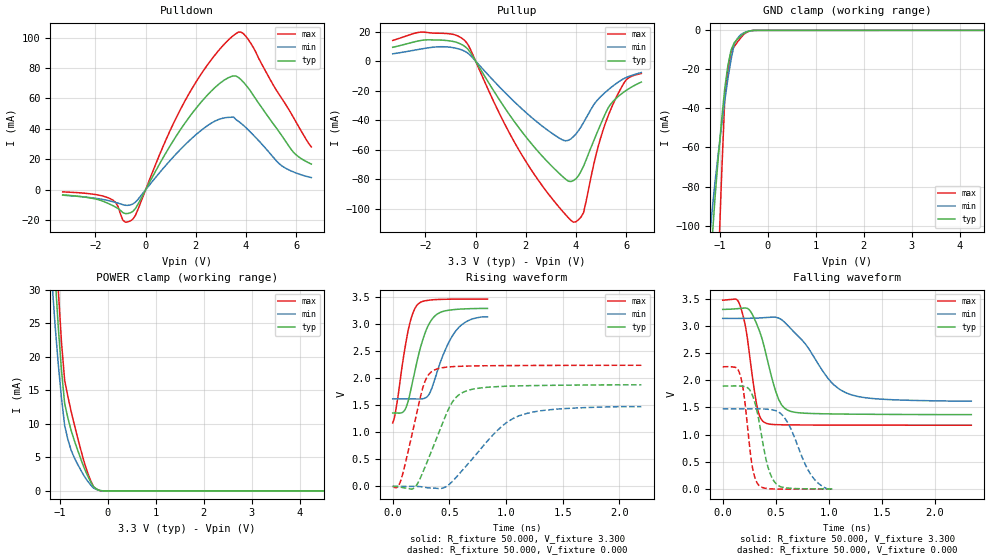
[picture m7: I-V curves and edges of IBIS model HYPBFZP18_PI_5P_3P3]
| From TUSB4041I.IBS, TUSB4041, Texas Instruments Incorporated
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|   Model Cell HYPBFZP18_PI_5P_3P3
|BC3340DSHYPBFZP18_PI_5P_3P3
[Model]   HYPBFZP18_PI_5P_3P3
Model_type   I/O
Polarity   Non-Inverting
Enable   Active-Low
Vinl =  0.8V
Vinh =  2V
Cref =  7pF
Rref =  100.00M
Vref =  0V
Vmeas =  1.65
C_comp   1.726631p   1.655247p   2.290856p
[Model Spec]
Vinl   0.8V   0.8V   0.8V
Vinh   2V   2V   2V
[Temperature Range]   25   125   -40
[Voltage Range]   3.3   3.135   3.465
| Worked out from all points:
|   slope of the pulldown table from 0 to 0.495 V, typ, clamps not added: 32.6 ohm
|   slope of the pullup table from 0 to 0.495 V, typ, clamps not added: 35.4 ohm
|   GND clamp passes 1 mA (typ) near -0.45 V on its own axis
|   POWER clamp passes 1 mA (typ) near -0.33 V on its own axis
|   rising waveform, R_fixture 50.000, V_fixture 3.300: 20-80 % time 142ps typ, 180ps min, 105ps max; typ from 1.36 V to 3.29 V
|   rising waveform, R_fixture 50.000, V_fixture 0.000: 20-80 % time 222ps typ, 391ps min, 148ps max; typ from 0 V to 1.88 V
|   falling waveform, R_fixture 50.000, V_fixture 3.300: 20-80 % time 163ps typ, 344ps min, 101ps max; typ from 3.3 V to 1.37 V
|   falling waveform, R_fixture 50.000, V_fixture 0.000: 20-80 % time 117ps typ, 198ps min, 80.1ps max; typ from 1.89 V to 0.004 V
[POWER_clamp]
|   voltage   I(typ)   I(min)   I(max)
-3.3V     369.6mA    284.7mA    471.9mA
-1.167V   41.03mA    31.42mA    51.21mA
-1.1V     32.16mA    24.72mA    39.91mA
-1.033V   24.41mA    18.88mA    30.02mA
-966.7mV  18.03mA    13.88mA    22.2mA
-900mV    13.01mA    9.725mA    16.44mA
-766.7mV  9.049mA    6.088mA    11.9mA
-500mV    3.542mA    2.299mA    4.462mA
-300mV    640.4uA    437.3uA    617.9uA
-233.3mV  273.6uA    199uA      245.5uA
-33.33mV  5.413uA    4.857uA    7.533uA
6.6V      -215.7nA   -1.274uA   -31.55nA
[Pulldown]
|   voltage   I(typ)   I(min)   I(max)
-3.3V     -3.365mA   -3.488mA   -1.337mA
-1.5V     -8.823mA   -6.978mA   -5.127mA
-1.2V     -11.25mA   -8.255mA   -8.14mA
-900mV    -14.96mA   -9.762mA   -19.97mA
-500mV    -14.05mA   -9.217mA   -19.12mA
1.7V      46.86mA    31.63mA    62.28mA
2.9V      69.16mA    46.14mA    91.29mA
3.7V      73.78mA    44.98mA    103.6mA
4.2V      64.34mA    37.49mA    95.95mA
5.4V      36.15mA    16.09mA    60.58mA
5.9V      24.48mA    11.69mA    47.2mA
6.6V      16.92mA    8.046mA    28.22mA
[Pullup]
|   voltage   I(typ)   I(min)   I(max)
-3.3V     9.309mA    4.903mA    13.95mA
-2.1V     14.15mA    8.36mA     19.61mA
-900mV    13.29mA    9.083mA    18.12mA
-400mV    9.543mA    6.366mA    13.33mA
1.8V      -46.88mA   -31.69mA   -62.38mA
3.4V      -77.2mA    -52.88mA   -100.5mA
3.9V      -80.91mA   -51.11mA   -109.2mA
4.3V      -71.16mA   -41.65mA   -102.6mA
4.9V      -46.04mA   -25.54mA   -56.79mA
5.5V      -26.88mA   -16.5mA    -28.23mA
6V        -19.88mA   -11.14mA   -12.69mA
6.6V      -14.22mA   -7.771mA   -8.395mA
[GND_clamp]
|   voltage   I(typ)   I(min)   I(max)
-3.3V     -996.3mA   -831.9mA   -2.048A
-1.233V   -134.2mA   -111.3mA   -283.3mA
-1.167V   -109.2mA   -93.69mA   -227.4mA
-1.1V     -85.3mA    -77.4mA    -172.3mA
-1.033V   -65.22mA   -63.13mA   -121.7mA
-966.7mV  -46.84mA   -49.44mA   -76.28mA
-900mV    -30.14mA   -36.34mA   -36.16mA
-833.3mV  -18.07mA   -24.79mA   -20.33mA
-766.7mV  -10.12mA   -14.98mA   -11.02mA
-700mV    -6.271mA   -6.911mA   -8.235mA
-500mV    -1.565mA   -1.211mA   -1.98mA
6.6V      3.807uA    16.07uA    6.911uA
[Ramp]
| variable   typ   min   max
dV/dt_f   1.180353/0.1661081n  0.9156961/0.3655182n   1.391752/0.1021891n
dV/dt_r   1.167026/0.2296821n  0.9061206/0.4217149n   1.382914/0.1495683n
R_load = 50
[Rising Waveform]
R_fixture = 50.000
V_fixture = 3.300
V_fixture_min = 3.135
V_fixture_max = 3.465
|  time   V(typ)   V(min)   V(max)
0s        1.358V     1.618V     1.175V
36ps      1.356V     1.618V     1.52V
112.5ps   1.435V     1.618V     2.612V
157.5ps   1.761V     1.618V     3.07V
210ps     2.267V     1.616V     3.338V
316.5ps   2.988V     1.688V     3.443V
379.5ps   3.166V     2.033V     3.455V
481.5ps   3.254V     2.605V     3.462V
580.5ps   3.277V     2.934V     3.464V
837ps     3.291V     3.135V     3.465V
[Rising Waveform]
R_fixture = 50.000
V_fixture = 0.000
V_fixture_min = 0.000
V_fixture_max = 0.000
|  time   V(typ)   V(min)   V(max)
0s        224.6uV    24.94uV    704.8nV
64.5ps    -10.71mV   36.41uV    65.94mV
202.5ps   -1.821mV   -727.1uV   1.263V
280.5ps   334mV      -16.2mV    1.919V
367.5ps   782.4mV    -32.26mV   2.151V
528ps     1.564V     93.88mV    2.214V
655.5ps   1.77V      393.4mV    2.225V
934.5ps   1.846V     1.055V     2.233V
1.11ns    1.859V     1.301V     2.235V
2.195ns   1.878V     1.474V     2.24V
[Falling Waveform]
R_fixture = 50.000
V_fixture = 3.300
V_fixture_min = 3.135
V_fixture_max = 3.465
|  time   V(typ)   V(min)   V(max)
0s        3.3V       3.135V     3.469V
166.5ps   3.319V     3.135V     3.356V
219ps     3.325V     3.136V     2.937V
328.5ps   2.992V     3.141V     1.473V
405ps     2.501V     3.15V      1.214V
528ps     1.643V     3.141V     1.183V
637.5ps   1.43V      2.955V     1.18V
1.02ns    1.382V     1.968V     1.176V
1.155ns   1.378V     1.774V     1.176V
2.341ns   1.369V     1.618V     1.174V
[Falling Waveform]
R_fixture = 50.000
V_fixture = 0.000
V_fixture_min = 0.000
V_fixture_max = 0.000
|  time   V(typ)   V(min)   V(max)
0s        1.893V     1.474V     2.246V
157.5ps   1.894V     1.475V     2.136V
204ps     1.884V     1.475V     1.681V
279ps     1.727V     1.475V     409.5mV
339ps     1.279V     1.475V     72.51mV
423ps     426.5mV    1.467V     10.67mV
502.5ps   99.27mV    1.44V      2.171mV
622.5ps   18.38mV    1.184V     348.6uV
840ps     5.709mV    240.3mV    111uV
1.031ns   4.116mV    24.94uV    86.46uV
